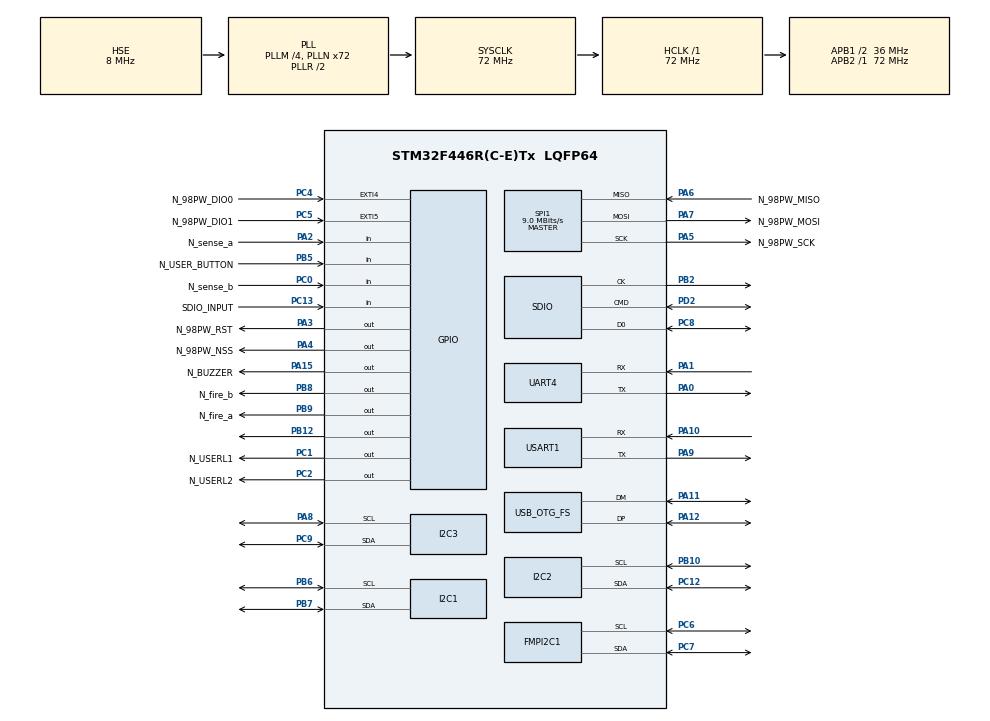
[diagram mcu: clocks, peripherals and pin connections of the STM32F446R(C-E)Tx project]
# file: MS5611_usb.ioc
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Dma.Request0=SDIO_RX
Dma.Request1=SDIO_TX
Dma.SDIO_RX.0.Direction=DMA_PERIPH_TO_MEMORY
Dma.SDIO_RX.0.FIFOMode=DMA_FIFOMODE_ENABLE
Dma.SDIO_RX.0.FIFOThreshold=DMA_FIFO_THRESHOLD_FULL
Dma.SDIO_RX.0.Instance=DMA2_Stream3
Dma.SDIO_RX.0.MemBurst=DMA_MBURST_INC4
Dma.SDIO_RX.0.MemDataAlignment=DMA_MDATAALIGN_WORD
Dma.SDIO_RX.0.MemInc=DMA_MINC_ENABLE
Dma.SDIO_RX.0.Mode=DMA_PFCTRL
Dma.SDIO_RX.0.PeriphBurst=DMA_PBURST_INC4
Dma.SDIO_RX.0.PeriphDataAlignment=DMA_PDATAALIGN_WORD
Dma.SDIO_RX.0.PeriphInc=DMA_PINC_DISABLE
Dma.SDIO_RX.0.Priority=DMA_PRIORITY_LOW
Dma.SDIO_TX.1.Direction=DMA_MEMORY_TO_PERIPH
Dma.SDIO_TX.1.FIFOMode=DMA_FIFOMODE_ENABLE
Dma.SDIO_TX.1.FIFOThreshold=DMA_FIFO_THRESHOLD_FULL
Dma.SDIO_TX.1.Instance=DMA2_Stream6
Dma.SDIO_TX.1.MemBurst=DMA_MBURST_INC4
Dma.SDIO_TX.1.MemDataAlignment=DMA_MDATAALIGN_WORD
Dma.SDIO_TX.1.MemInc=DMA_MINC_ENABLE
Dma.SDIO_TX.1.Mode=DMA_PFCTRL
Dma.SDIO_TX.1.PeriphBurst=DMA_PBURST_INC4
Dma.SDIO_TX.1.PeriphDataAlignment=DMA_PDATAALIGN_WORD
Dma.SDIO_TX.1.PeriphInc=DMA_PINC_DISABLE
Dma.SDIO_TX.1.Priority=DMA_PRIORITY_LOW
FATFS.BSP.number=1
FATFS.USE_DMA_CODE_SD=1
FATFS._USE_FIND=1
FATFS0.BSP.STBoard=false
FATFS0.BSP.api=Unknown
FATFS0.BSP.instance=PC13
FATFS0.BSP.ip=GPIO
FATFS0.BSP.mode=Input
FATFS0.BSP.name=Detect_SDIO
FATFS0.BSP.solution=PC13
FMPI2C1.Timing=0x00808CD2
Mcu.Family=STM32F4
Mcu.Name=STM32F446R(C-E)Tx
Mcu.Package=LQFP64
NVIC.DMA2_Stream3_IRQn=true\:0\:0\:false\:false\:true\:false\:true\:true
NVIC.DMA2_Stream6_IRQn=true\:0\:0\:false\:false\:true\:false\:true\:true
NVIC.EXTI4_IRQn=true\:0\:0\:false\:false\:true\:true\:true\:true
NVIC.EXTI9_5_IRQn=true\:0\:0\:false\:false\:true\:true\:true\:true
NVIC.OTG_FS_IRQn=true\:0\:0\:false\:false\:true\:false\:true\:true
NVIC.PriorityGroup=NVIC_PRIORITYGROUP_4
NVIC.SDIO_IRQn=true\:0\:0\:false\:false\:true\:true\:true\:true
PA0-WKUP.Mode=Asynchronous
PA0-WKUP.Signal=UART4_TX
PA1.Mode=Asynchronous
PA1.Signal=UART4_RX
PA10.Mode=Asynchronous
PA10.Signal=USART1_RX
PA11.Mode=Device_Only
PA11.Signal=USB_OTG_FS_DM
PA12.Mode=Device_Only
PA12.Signal=USB_OTG_FS_DP
PA13.Mode=Serial_Wire
PA13.Signal=SYS_JTMS-SWDIO
PA14.Mode=Serial_Wire
PA14.Signal=SYS_JTCK-SWCLK
PA15.GPIO_Label=N_BUZZER
PA15.Signal=GPIO_Output
PA2.GPIO_Label=N_sense_a
PA2.Signal=GPIO_Input
PA3.GPIO_Label=N_98PW_RST
PA3.GPIO_PuPd=GPIO_PULLUP
PA3.Signal=GPIO_Output
PA4.GPIO_Label=N_98PW_NSS
PA4.GPIO_PuPd=GPIO_PULLUP
PA4.Signal=GPIO_Output
PA5.GPIO_Label=N_98PW_SCK
PA5.Mode=Full_Duplex_Master
PA5.Signal=SPI1_SCK
PA6.GPIO_Label=N_98PW_MISO
PA6.Mode=Full_Duplex_Master
PA6.Signal=SPI1_MISO
PA7.GPIO_Label=N_98PW_MOSI
PA7.Mode=Full_Duplex_Master
PA7.Signal=SPI1_MOSI
PA8.Mode=I2C
PA8.Signal=I2C3_SCL
PA9.Mode=Asynchronous
PA9.Signal=USART1_TX
PB0.Signal=SDIO_D1
PB1.Signal=SDIO_D2
PB10.Mode=I2C
PB10.Signal=I2C2_SCL
PB12.Signal=GPIO_Output
PB2.Mode=SD_1_bit
PB2.Signal=SDIO_CK
PB5.GPIO_Label=N_USER_BUTTON
PB5.Signal=GPIO_Input
PB6.Mode=I2C
PB6.Signal=I2C1_SCL
PB7.Mode=I2C
PB7.Signal=I2C1_SDA
PB8.GPIO_Label=N_fire_b
PB8.GPIO_PuPd=GPIO_PULLDOWN
PB8.Signal=GPIO_Output
PB9.GPIO_Label=N_fire_a
PB9.GPIO_PuPd=GPIO_PULLDOWN
PB9.Signal=GPIO_Output
PC0.GPIO_Label=N_sense_b
PC0.Signal=GPIO_Input
PC1.GPIO_Label=N_USERL1
PC1.GPIO_PuPd=GPIO_PULLDOWN
PC1.Signal=GPIO_Output
PC11.Signal=SDIO_D3
PC12.Mode=I2C
PC12.Signal=I2C2_SDA
PC13.GPIO_Label=SDIO_INPUT
PC13.GPIO_PuPd=GPIO_PULLDOWN
PC13.Signal=GPIO_Input
PC2.GPIO_Label=N_USERL2
PC2.GPIO_PuPd=GPIO_PULLDOWN
PC2.Signal=GPIO_Output
PC4.GPIO_Label=N_98PW_DIO0
PC4.Signal=GPXTI4
PC5.GPIO_Label=N_98PW_DIO1
PC5.Signal=GPXTI5
PC6.Mode=I2C
PC6.Signal=FMPI2C1_SCL
PC7.Mode=I2C
PC7.Signal=FMPI2C1_SDA
PC8.GPIO_PuPd=GPIO_PULLUP
PC8.Mode=SD_1_bit
PC8.Signal=SDIO_D0
PC9.Mode=I2C
PC9.Signal=I2C3_SDA
PD2.GPIO_PuPd=GPIO_PULLUP
PD2.Mode=SD_1_bit
PD2.Signal=SDIO_CMD
PH0-OSC_IN.Mode=HSE-External-Oscillator
PH0-OSC_IN.Signal=RCC_OSC_IN
PH1-OSC_OUT.Mode=HSE-External-Oscillator
PH1-OSC_OUT.Signal=RCC_OSC_OUT
ProjectManager.HeapSize=0x200
ProjectManager.StackSize=0x400
ProjectManager.TargetToolchain=STM32CubeIDE
RCC.AHBFreq_Value=72000000
RCC.APB1CLKDivider=RCC_HCLK_DIV2
RCC.APB1Freq_Value=36000000
RCC.APB1TimFreq_Value=72000000
RCC.APB2Freq_Value=72000000
RCC.APB2TimFreq_Value=72000000
RCC.CortexFreq_Value=72000000
RCC.HCLKFreq_Value=72000000
RCC.HSE_VALUE=8000000
RCC.PLLM=4
RCC.PLLN=72
RCC.PLLQ=3
RCC.SYSCLKFreq_VALUE=72000000
RCC.SYSCLKSource=RCC_SYSCLKSOURCE_PLLRCLK
RCC.USBFreq_Value=48000000
RCC.VCOOutputFreq_Value=144000000
SDIO.ClockDiv=4
SPI1.BaudRatePrescaler=SPI_BAUDRATEPRESCALER_8
SPI1.CLKPolarity=SPI_POLARITY_LOW
SPI1.CalculateBaudRate=9.0 MBits/s
SPI1.Direction=SPI_DIRECTION_2LINES
SPI1.Mode=SPI_MODE_MASTER
SPI1.VirtualType=VM_MASTER
UART4.VirtualMode=Asynchronous
USART1.VirtualMode=VM_ASYNC
USB_DEVICE.CLASS_NAME_FS=CDC
USB_DEVICE.PRODUCT_STRING_CDC_FS=STM32 Virtual Port
USB_DEVICE.VirtualMode-CDC_FS=Cdc
USB_DEVICE.VirtualModeFS=Cdc_FS
USB_OTG_FS.VirtualMode=Device_Only
VP_FATFS_VS_SDIO.Mode=SDIO
VP_USB_DEVICE_VS_USB_DEVICE_CDC_FS.Mode=CDC_FS
board=custom

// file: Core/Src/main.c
/* USER CODE BEGIN Header */
/**
  ******************************************************************************
  * @file           : main.c
  * @brief          : Main program body
  ******************************************************************************
  * @attention
  *
  * Copyright (c) 2024 STMicroelectronics.
  * All rights reserved.
  *
  * This software is licensed under terms that can be found in the LICENSE file
  * in the root directory of this software component.
  * If no LICENSE file comes with this software, it is provided AS-IS.
  *
  ******************************************************************************
  */
/* USER CODE END Header */
#include "main.h"
#include "dma.h"
#include "fatfs.h"
#include "fmpi2c.h"
#include "i2c.h"
#include "sdio.h"
#include "spi.h"
#include "usart.h"
#include "usb_device.h"
#include "gpio.h"

/* USER CODE BEGIN Includes */
#include "stdlib.h"
#include "string.h"
#include "MS5611.h"
#include "usbd_cdc_if.h"
#include "stdio.h"
/* USER CODE END Includes */

/* USER CODE BEGIN PD */
MS5611_t ms5611_data;

/* USER CODE END PD */

void SystemClock_Config(void);

/* USER CODE BEGIN 0 */

void USB_VCP_ProcessData(void)
{
    // Sıcaklık ve basınç verilerini oku
    if (MS5611_read_temp(&hi2c1, &ms5611_data, MS5611_CMD_CONVERT_D2_4096) == MS5611_OK &&
        MS5611_read_press(&hi2c1, &ms5611_data, MS5611_CMD_CONVERT_D1_4096) == MS5611_OK &&
        MS5611_calculate(&ms5611_data) == MS5611_OK)
    {
        int32_t pressure = ms5611_data.end_pres;
        int32_t temperature = ms5611_data.end_temp;

        char buffer[50];
            int len = snprintf(buffer, sizeof(buffer), "Pressure: %ld mB, Temperature: %ld C\n", pressure, temperature);

                 // Sıcaklık ve basınç verilerini gönder
                 while (CDC_Transmit_FS((uint8_t*)buffer, len))
                 {
                     // USB meşgul, bekle
                 }

    }

}
/* USER CODE END 0 */

int main(void)
{

  /* MCU Configuration--------------------------------------------------------*/

  /* Reset of all peripherals, Initializes the Flash interface and the Systick. */
  HAL_Init();

  /* Configure the system clock */
  SystemClock_Config();

  /* Initialize all configured peripherals */
  MX_GPIO_Init();
  MX_DMA_Init();
  MX_FMPI2C1_Init();
  MX_I2C1_Init();
  MX_I2C2_Init();
  MX_I2C3_Init();
  MX_SDIO_SD_Init();
  MX_SPI1_Init();
  MX_UART4_Init();
  MX_USART1_UART_Init();
  MX_FATFS_Init();
  MX_USB_DEVICE_Init();
  /* USER CODE BEGIN 2 */
      MS5611_Rest(&hi2c1);
      MS5611_init(&hi2c1, &ms5611_data);

  /* USER CODE END 2 */

  /* Infinite loop */
  /* USER CODE BEGIN WHILE */
  while (1)
  {

	  USB_VCP_ProcessData();  // Sıcaklık ve basınç verilerini al ve USB VCP üzerinden gönder
	       HAL_Delay(1000);

    /* USER CODE END WHILE */

  }
}

void SystemClock_Config(void)
{
  RCC_OscInitTypeDef RCC_OscInitStruct = {0};
  RCC_ClkInitTypeDef RCC_ClkInitStruct = {0};

  /** Configure the main internal regulator output voltage
  */
  __HAL_RCC_PWR_CLK_ENABLE();
  __HAL_PWR_VOLTAGESCALING_CONFIG(PWR_REGULATOR_VOLTAGE_SCALE3);

  /** Initializes the RCC Oscillators according to the specified parameters
  * in the RCC_OscInitTypeDef structure.
  */
  RCC_OscInitStruct.OscillatorType = RCC_OSCILLATORTYPE_HSE;
  RCC_OscInitStruct.HSEState = RCC_HSE_ON;
  RCC_OscInitStruct.PLL.PLLState = RCC_PLL_ON;
  RCC_OscInitStruct.PLL.PLLSource = RCC_PLLSOURCE_HSE;
  RCC_OscInitStruct.PLL.PLLM = 4;
  RCC_OscInitStruct.PLL.PLLN = 72;
  RCC_OscInitStruct.PLL.PLLP = RCC_PLLP_DIV2;
  RCC_OscInitStruct.PLL.PLLQ = 3;
  RCC_OscInitStruct.PLL.PLLR = 2;
  if (HAL_RCC_OscConfig(&RCC_OscInitStruct) != HAL_OK)
  {
    Error_Handler();
  }

  /** Initializes the CPU, AHB and APB buses clocks
  */
  RCC_ClkInitStruct.ClockType = RCC_CLOCKTYPE_HCLK|RCC_CLOCKTYPE_SYSCLK
                              |RCC_CLOCKTYPE_PCLK1|RCC_CLOCKTYPE_PCLK2;
  RCC_ClkInitStruct.SYSCLKSource = RCC_SYSCLKSOURCE_PLLRCLK;
  RCC_ClkInitStruct.AHBCLKDivider = RCC_SYSCLK_DIV1;
  RCC_ClkInitStruct.APB1CLKDivider = RCC_HCLK_DIV2;
  RCC_ClkInitStruct.APB2CLKDivider = RCC_HCLK_DIV1;

  if (HAL_RCC_ClockConfig(&RCC_ClkInitStruct, FLASH_LATENCY_2) != HAL_OK)
  {
    Error_Handler();
  }
}

void Error_Handler(void)
{
  __disable_irq();
  while (1)
  {
  }
}
